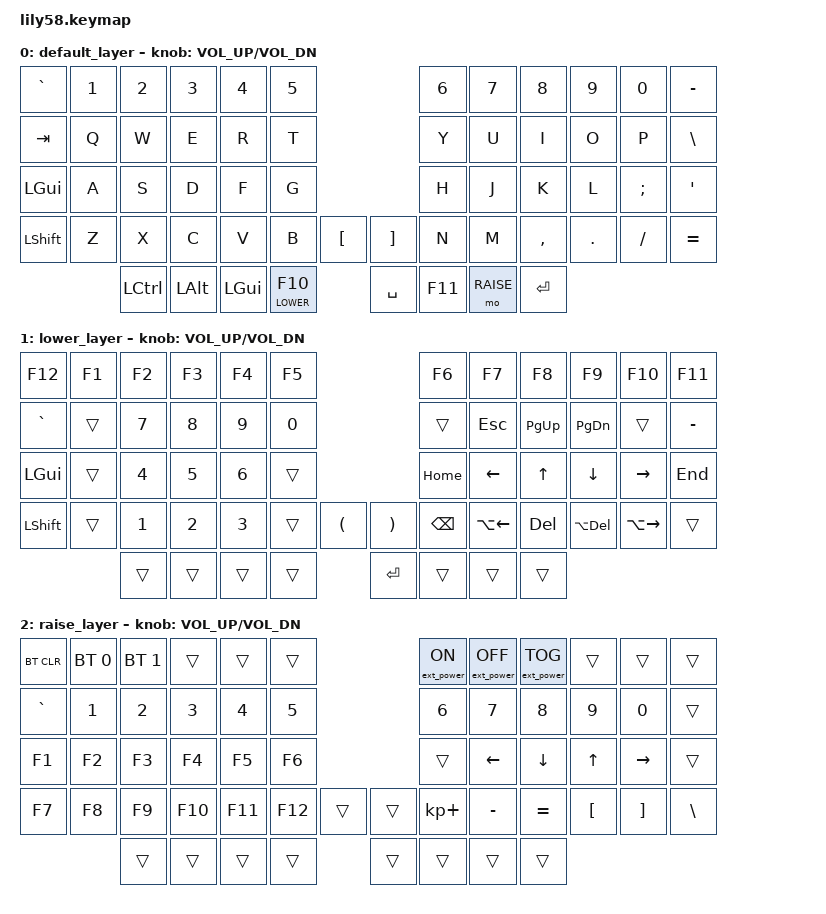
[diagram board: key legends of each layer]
/*
 * Copyright (c) 2020 The ZMK Contributors
 *
 * SPDX-License-Identifier: MIT
 */

#include <behaviors.dtsi>
#include <dt-bindings/zmk/keys.h>
#include <dt-bindings/zmk/bt.h>
#include <dt-bindings/zmk/ext_power.h>

#define DEFAULT 0
#define LOWER   1
#define RAISE   2

&lt {
    retro-tap;
};

/ {
    keymap {
        compatible = "zmk,keymap";

        default_layer {
// ------------------------------------------------------------------------------------------------------------
// |  `    |  1  |  2  |  3   |  4   |  5   |                   |  6   |  7    |  8    |  9   |   0   |   -   |
// |  TAB  |  Q  |  W  |  E   |  R   |  T   |                   |  Y   |  U    |  I    |  O   |   P   |   \   |
// |  GUI  |  A  |  S  |  D   |  F   |  G   |                   |  H   |  J    |  K    |  L   |   ;   |   '   |
// | SHIFT |  Z  |  X  |  C   |  V   |  B   |   "["  |  |  "]"  |  N   |  M    |  ,    |  .   |   /   |   =   |
//                     | CTRL |  ALT |  GUI | LW/F10 |  | SPACE | F11  | BSPC  | ENTER |
            bindings = <
&kp GRAVE &kp N1 &kp N2 &kp N3   &kp N4   &kp N5                     &kp N6 &kp N7   &kp N8    &kp N9  &kp N0   &kp MINUS
&kp TAB   &kp Q  &kp W  &kp E    &kp R    &kp T                      &kp Y  &kp U    &kp I     &kp O   &kp P    &kp BSLH
&kp LGUI  &kp A  &kp S  &kp D    &kp F    &kp G                      &kp H  &kp J    &kp K     &kp L   &kp SEMI &kp SQT
&kp LSHFT &kp Z  &kp X  &kp C    &kp V    &kp B  &kp LBKT   &kp RBKT &kp N  &kp M    &kp COMMA &kp DOT &kp FSLH &kp EQUAL
                  &kp LCTRL &kp LALT &kp LGUI &lt LOWER F10 &kp SPACE &kp F11 &mo RAISE &kp RET
            >;

            sensor-bindings = <&inc_dec_kp C_VOL_UP C_VOL_DN>;
        };

        lower_layer {
// ------------------------------------------------------------------------------------------------------------
// |  F12  |  F1 |  F2 |  F3  |  F4  |  F5  |                   |  F6  |  F7   |  F8   |  F9   |  F10  |  F11  |
// |   `   |     |  7  |  8   |  9   |  0   |                   |      |  ESC  | PG_UP | PG_DN |       |  -    |
// |  GUI  |     |  4  |  5   |  6   |      |                   | HOME |  LEFT |  UP   |  DOWN | RIGHT |  END  |
// | SHIFT |     |  1  |  2   |  3   |      |  (     |  |  )    | BSPC | ALEFT |  DEL  | ABSPC | ARIGHT|       |
//                     |      |      |      |        |  | ENTER |      |       |       |
            bindings = <
&kp F12   &kp F1  &kp F2 &kp F3 &kp F4 &kp F5                    &kp F6   &kp F7       &kp F8    &kp F9      &kp F10       &kp F11
&kp GRAVE &trans  &kp N7 &kp N8 &kp N9 &kp N0                    &trans   &kp ESC      &kp PG_UP &kp PG_DN   &trans        &kp MINUS
&kp LGUI  &trans  &kp N4 &kp N5 &kp N6 &trans                &kp HOME &kp LEFT     &kp UP    &kp DOWN    &kp RIGHT     &kp END
&kp LSHFT &trans  &kp N1 &kp N2 &kp N3 &trans &kp LPAR  &kp RPAR &kp BSPC &kp LA(LEFT) &kp DEL   &kp LA(DEL) &kp LA(RIGHT) &trans
                         &trans &trans &trans &trans    &kp RET  &trans   &trans       &trans
            >;

            sensor-bindings = <&inc_dec_kp C_VOL_UP C_VOL_DN>;
        };

        raise_layer {
// ------------------------------------------------------------------------------------------------------------
// | BTCLR | BT0 | BT1 |      |      |      |                   | PON  | POFF  | PTOG  |      |       |       |
// |   `   |  1  |  2  |  3   |  4   |  5   |                   |  6   |   7   |   8   |  9   |   0   |       |
// |   F1  |  F2 |  F3 |  F4  |  F5  |  F6  |                   |      |   <-  |   v   |  ^   |  ->   |       |
// |   F7  |  F8 |  F9 |  F10 |  F11 |  F12 |        |  |       |  +   |   -   |   =   |  [   |   ]   |   \   |
//                     |      |      |      |        |  |       |      |       |       |
            bindings = <
&bt BT_CLR &bt BT_SEL 0 &bt BT_SEL 1 &trans &trans &trans            &ext_power EP_ON &ext_power EP_OFF &ext_power EP_TOG &trans &trans &trans
&kp GRAVE &kp N1 &kp N2 &kp N3  &kp N4  &kp N5                       &kp N6      &kp N7    &kp N8    &kp N9   &kp N0    &trans
&kp F1    &kp F2 &kp F3 &kp F4  &kp F5  &kp F6                       &trans      &kp LEFT  &kp DOWN  &kp UP   &kp RIGHT &trans
&kp F7    &kp F8 &kp F9 &kp F10 &kp F11 &kp F12   &trans   &trans    &kp KP_PLUS &kp MINUS &kp EQUAL &kp LBKT &kp RBKT  &kp BSLH
                        &trans  &trans  &trans    &trans   &trans    &trans      &trans    &trans
            >;

            sensor-bindings = <&inc_dec_kp C_VOL_UP C_VOL_DN>;
        };
    };
};
